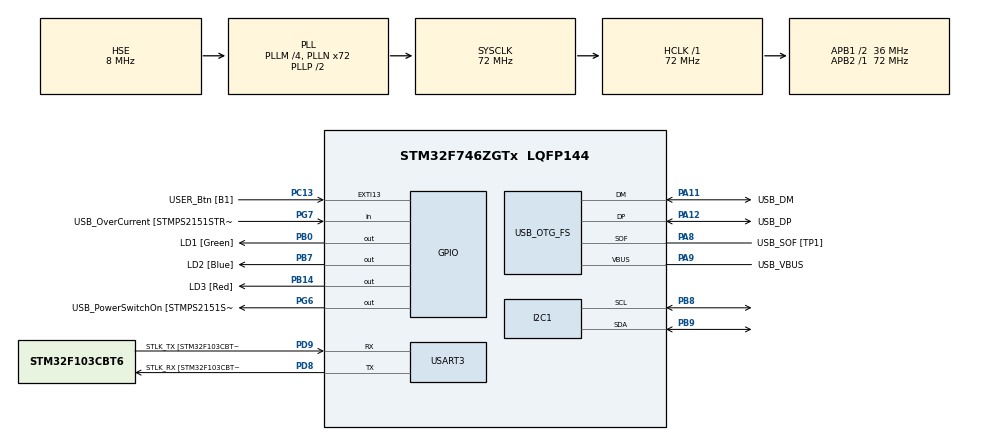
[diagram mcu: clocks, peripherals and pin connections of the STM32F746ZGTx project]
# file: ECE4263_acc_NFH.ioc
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I2C1.Timing=0x00808CD2
Mcu.Family=STM32F7
Mcu.Name=STM32F746ZGTx
Mcu.Package=LQFP144
NVIC.PriorityGroup=NVIC_PRIORITYGROUP_4
PA1.GPIO_Label=RMII_REF_CLK [LAN8742A-CZ-TR_REFCLK0]
PA1.Signal=ETH_REF_CLK
PA10.GPIO_Label=USB_ID
PA10.Signal=USB_OTG_FS_ID
PA11.GPIO_Label=USB_DM
PA11.Mode=Device_Only
PA11.Signal=USB_OTG_FS_DM
PA12.GPIO_Label=USB_DP
PA12.Mode=Device_Only
PA12.Signal=USB_OTG_FS_DP
PA13.GPIO_Label=TMS
PA13.Mode=Serial_Wire
PA13.Signal=SYS_JTMS-SWDIO
PA14.GPIO_Label=TCK
PA14.Mode=Serial_Wire
PA14.Signal=SYS_JTCK-SWCLK
PA2.GPIO_Label=RMII_MDIO [LAN8742A-CZ-TR_MDIO]
PA2.Signal=ETH_MDIO
PA7.GPIO_Label=RMII_CRS_DV [LAN8742A-CZ-TR_CRS_DV]
PA7.Signal=ETH_CRS_DV
PA8.GPIO_Label=USB_SOF [TP1]
PA8.Mode=Activate_SOF_FS
PA8.Signal=USB_OTG_FS_SOF
PA9.GPIO_Label=USB_VBUS
PA9.Mode=Activate_VBUS
PA9.Signal=USB_OTG_FS_VBUS
PB0.GPIO_Label=LD1 [Green]
PB0.Signal=GPIO_Output
PB13.GPIO_Label=RMII_TXD1 [LAN8742A-CZ-TR_TXD1]
PB13.Signal=ETH_TXD1
PB14.GPIO_Label=LD3 [Red]
PB14.Signal=GPIO_Output
PB3.GPIO_Label=SW0
PB3.Signal=SYS_JTDO-SWO
PB7.GPIO_Label=LD2 [Blue]
PB7.Signal=GPIO_Output
PB8.Mode=I2C
PB8.Signal=I2C1_SCL
PB9.Mode=I2C
PB9.Signal=I2C1_SDA
PC1.GPIO_Label=RMII_MDC [LAN8742A-CZ-TR_MDC]
PC1.Signal=ETH_MDC
PC13.GPIO_Label=USER_Btn [B1]
PC13.Signal=GPXTI13
PC14/OSC32_IN.Mode=LSE-External-Oscillator
PC14/OSC32_IN.Signal=RCC_OSC32_IN
PC15/OSC32_OUT.Mode=LSE-External-Oscillator
PC15/OSC32_OUT.Signal=RCC_OSC32_OUT
PC4.GPIO_Label=RMII_RXD0 [LAN8742A-CZ-TR_RXD0]
PC4.Signal=ETH_RXD0
PC5.GPIO_Label=RMII_RXD1 [LAN8742A-CZ-TR_RXD1]
PC5.Signal=ETH_RXD1
PD8.GPIO_Label=STLK_RX [STM32F103CBT6_PA3]
PD8.Mode=Asynchronous
PD8.Signal=USART3_TX
PD9.GPIO_Label=STLK_TX [STM32F103CBT6_PA2]
PD9.Mode=Asynchronous
PD9.Signal=USART3_RX
PG11.GPIO_Label=RMII_TX_EN [LAN8742A-CZ-TR_TXEN]
PG11.Signal=ETH_TX_EN
PG13.GPIO_Label=RMII_TXD0 [LAN8742A-CZ-TR_TXD0]
PG13.Signal=ETH_TXD0
PG6.GPIO_Label=USB_PowerSwitchOn [STMPS2151STR_EN]
PG6.Signal=GPIO_Output
PG7.GPIO_Label=USB_OverCurrent [STMPS2151STR_FAULT]
PG7.Signal=GPIO_Input
PH0/OSC_IN.GPIO_Label=MCO [STM32F103CBT6_PA8]
PH0/OSC_IN.Mode=HSE-External-Clock-Source
PH0/OSC_IN.Signal=RCC_OSC_IN
PH1/OSC_OUT.Mode=HSE-External-Clock-Source
PH1/OSC_OUT.Signal=RCC_OSC_OUT
ProjectManager.HeapSize=0x200
ProjectManager.StackSize=0x400
ProjectManager.TargetToolchain=STM32CubeIDE
RCC.48MHZClocksFreq_Value=24000000
RCC.AHBFreq_Value=72000000
RCC.APB1CLKDivider=RCC_HCLK_DIV2
RCC.APB1Freq_Value=36000000
RCC.APB1TimFreq_Value=72000000
RCC.APB2Freq_Value=72000000
RCC.APB2TimFreq_Value=72000000
RCC.CortexFreq_Value=72000000
RCC.HCLKFreq_Value=72000000
RCC.HSE_VALUE=8000000
RCC.HSI_VALUE=16000000
RCC.PLLM=4
RCC.PLLMUL=RCC_PLL_MUL9
RCC.PLLN=72
RCC.PLLQ=3
RCC.PRESCALERUSB=RCC_USBCLKSOURCE_PLL_DIV1_5
RCC.SYSCLKFreq_VALUE=72000000
RCC.SYSCLKSource=RCC_SYSCLKSOURCE_PLLCLK
RCC.SYSCLKSourceVirtual=RCC_SYSCLKSOURCE_PLLCLK
RCC.USBFreq_Value=48000000
RCC.VCOOutputFreq_Value=144000000
USART3.VirtualMode-Asynchronous=VM_ASYNC
USB_OTG_FS.VirtualMode=Device_Only
board=NUCLEO-F746ZG

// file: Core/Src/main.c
/* USER CODE BEGIN Header */
/**
  ******************************************************************************
  * @file           : main.c
  * @brief          : Main program body
  ******************************************************************************
  * @attention
  *
  * <h2><center>&copy; Copyright (c) 2021 STMicroelectronics.
  * All rights reserved.</center></h2>
  *
  * This software component is licensed by ST under BSD 3-Clause license,
  * the "License"; You may not use this file except in compliance with the
  * License. You may obtain a copy of the License at:
  *                        opensource.org/licenses/BSD-3-Clause
  *
  ******************************************************************************
  */
/* USER CODE END Header */
#include "main.h"

/* USER CODE BEGIN Includes */
#include "stdio.h"
#include "stdint.h"
#include "string.h"
/* USER CODE END Includes */

I2C_HandleTypeDef hi2c1;

UART_HandleTypeDef huart3;

PCD_HandleTypeDef hpcd_USB_OTG_FS;

/* USER CODE BEGIN PV */
#define MPU6050_ADDR 0xD0
#define SMPLRT_DIV_REG 0x19
#define GYRO_CONFIG_REG 0x1B
#define ACCEL_CONFIG_REG 0x1C
#define ACCEL_XOUT_H_REG 0x3B
#define TEMP_OUT_H_REG 0x41
#define GYRO_XOUT_H_REG 0x43
#define PWR_MGMT_1_REG 0x6B
#define WHO_AM_I_REG 0x75

int16_t Accel_X_RAW = 0 ;
int16_t Accel_Y_RAW = 0 ;
int16_t Accel_Z_RAW = 0 ;

int16_t Gyro_X_RAW = 0 ;
int16_t Gyro_Y_RAW = 0 ;
int16_t Gyro_Z_RAW = 0 ;

/* USER CODE END PV */

void SystemClock_Config(void);
static void MX_GPIO_Init(void);
static void MX_USART3_UART_Init(void);
static void MX_USB_OTG_FS_PCD_Init(void);
static void MX_I2C1_Init(void);
/* USER CODE BEGIN PFP */
//void MPU6050_Init(void); //Initialize the MPU
//void MPU6050_Read_Accel(void); //Read the Accel values
//void MPU6050_Read_Gyro(void); //Read the Gyro values
/* USER CODE END PFP */

int main(void)
{

  /* MCU Configuration--------------------------------------------------------*/

  /* Reset of all peripherals, Initializes the Flash interface and the Systick. */
  HAL_Init();

  /* Configure the system clock */
  SystemClock_Config();

  /* Initialize all configured peripherals */
  MX_GPIO_Init();
  MX_USART3_UART_Init();
  MX_USB_OTG_FS_PCD_Init();
  MX_I2C1_Init();
  /* USER CODE BEGIN 2 */

  uint8_t check;

  HAL_I2C_Mem_Read (&hi2c1, MPU6050_ADDR,WHO_AM_I_REG,1, &check, 1, HAL_MAX_DELAY);

  uint8_t data;

  if(check == 104){
	data = 0x00;
	HAL_I2C_Mem_Write(&hi2c1, MPU6050_ADDR, PWR_MGMT_1_REG, 1, &data, 1, HAL_MAX_DELAY);
	data = 0x07;
	HAL_I2C_Mem_Write(&hi2c1, MPU6050_ADDR, SMPLRT_DIV_REG, 1, &data, 1, HAL_MAX_DELAY);
	data = 0x00;
	HAL_I2C_Mem_Write(&hi2c1, MPU6050_ADDR, ACCEL_CONFIG_REG, 1, &data, 1, HAL_MAX_DELAY);
	data = 0x00;
	HAL_I2C_Mem_Write(&hi2c1, MPU6050_ADDR, GYRO_CONFIG_REG, 1, &data, 1, HAL_MAX_DELAY);
  }

  uint8_t dataRX[6];
  char buffer[128];

  /* USER CODE END 2 */

  /* Infinite loop */
  /* USER CODE BEGIN WHILE */
  while (1)
  {

//	HAL_I2C_Mem_Read (&hi2c1, MPU6050_ADDR, ACCEL_XOUT_H_REG, 1, dataRX, 6, HAL_MAX_DELAY);
//	Accel_X_RAW = (int16_t)(dataRX[0] << 8 | dataRX [1]);
//	double Ax = Accel_X_RAW/16384.0;
//
//	//HAL_I2C_Mem_Read (&hi2c1, MPU6050_ADDR, ACCEL_XOUT_H_REG, 1, dataRX, 6, HAL_MAX_DELAY);
//	Accel_Y_RAW = (int16_t)(dataRX[2] << 8 | dataRX [3]);
//	double Ay = Accel_Y_RAW/16384.0;
//
//	//HAL_I2C_Mem_Read (&hi2c1, MPU6050_ADDR, ACCEL_XOUT_H_REG, 1, dataRX, 6, HAL_MAX_DELAY);
//	Accel_Z_RAW = (int16_t)(dataRX[4] << 8 | dataRX [5]);
//	double Az = Accel_Z_RAW/16384.0;

	  HAL_I2C_Mem_Read (&hi2c1, MPU6050_ADDR, GYRO_XOUT_H_REG, 1, dataRX, 6, 1000);
	  Gyro_X_RAW = (int16_t)(dataRX[0] << 8 | dataRX [1]);
	  double Gx = (Gyro_X_RAW/131.0);

	  Gyro_Z_RAW = (int16_t)(dataRX[2] << 8 | dataRX [3]);
	  double Gz = Gyro_Z_RAW/131.0;

	  Gyro_Y_RAW = (int16_t)(dataRX[4] << 8 | dataRX [5]);
	  double Gy = Gyro_Y_RAW/131.0;

	  sprintf(buffer, "%lf, %lf \r\n", Gyro_X_RAW/131.0, Gx);

	  HAL_UART_Transmit(&huart3, (uint8_t *)buffer, strlen(buffer), HAL_MAX_DELAY);

	  HAL_Delay(500);
    /* USER CODE END WHILE */

  }
}

void SystemClock_Config(void)
{
  RCC_OscInitTypeDef RCC_OscInitStruct = {0};
  RCC_ClkInitTypeDef RCC_ClkInitStruct = {0};
  RCC_PeriphCLKInitTypeDef PeriphClkInitStruct = {0};

  /** Configure LSE Drive Capability
  */
  HAL_PWR_EnableBkUpAccess();
  /** Configure the main internal regulator output voltage
  */
  __HAL_RCC_PWR_CLK_ENABLE();
  __HAL_PWR_VOLTAGESCALING_CONFIG(PWR_REGULATOR_VOLTAGE_SCALE3);
  /** Initializes the RCC Oscillators according to the specified parameters
  * in the RCC_OscInitTypeDef structure.
  */
  RCC_OscInitStruct.OscillatorType = RCC_OSCILLATORTYPE_HSE;
  RCC_OscInitStruct.HSEState = RCC_HSE_BYPASS;
  RCC_OscInitStruct.PLL.PLLState = RCC_PLL_ON;
  RCC_OscInitStruct.PLL.PLLSource = RCC_PLLSOURCE_HSE;
  RCC_OscInitStruct.PLL.PLLM = 4;
  RCC_OscInitStruct.PLL.PLLN = 72;
  RCC_OscInitStruct.PLL.PLLP = RCC_PLLP_DIV2;
  RCC_OscInitStruct.PLL.PLLQ = 3;
  if (HAL_RCC_OscConfig(&RCC_OscInitStruct) != HAL_OK)
  {
    Error_Handler();
  }
  /** Initializes the CPU, AHB and APB buses clocks
  */
  RCC_ClkInitStruct.ClockType = RCC_CLOCKTYPE_HCLK|RCC_CLOCKTYPE_SYSCLK
                              |RCC_CLOCKTYPE_PCLK1|RCC_CLOCKTYPE_PCLK2;
  RCC_ClkInitStruct.SYSCLKSource = RCC_SYSCLKSOURCE_PLLCLK;
  RCC_ClkInitStruct.AHBCLKDivider = RCC_SYSCLK_DIV1;
  RCC_ClkInitStruct.APB1CLKDivider = RCC_HCLK_DIV2;
  RCC_ClkInitStruct.APB2CLKDivider = RCC_HCLK_DIV1;

  if (HAL_RCC_ClockConfig(&RCC_ClkInitStruct, FLASH_LATENCY_2) != HAL_OK)
  {
    Error_Handler();
  }
  PeriphClkInitStruct.PeriphClockSelection = RCC_PERIPHCLK_USART3|RCC_PERIPHCLK_I2C1
                              |RCC_PERIPHCLK_CLK48;
  PeriphClkInitStruct.Usart3ClockSelection = RCC_USART3CLKSOURCE_PCLK1;
  PeriphClkInitStruct.I2c1ClockSelection = RCC_I2C1CLKSOURCE_PCLK1;
  PeriphClkInitStruct.Clk48ClockSelection = RCC_CLK48SOURCE_PLL;
  if (HAL_RCCEx_PeriphCLKConfig(&PeriphClkInitStruct) != HAL_OK)
  {
    Error_Handler();
  }
}

static void MX_I2C1_Init(void)
{

  hi2c1.Instance = I2C1;
  hi2c1.Init.Timing = 0x00808CD2;
  hi2c1.Init.OwnAddress1 = 0;
  hi2c1.Init.AddressingMode = I2C_ADDRESSINGMODE_7BIT;
  hi2c1.Init.DualAddressMode = I2C_DUALADDRESS_DISABLE;
  hi2c1.Init.OwnAddress2 = 0;
  hi2c1.Init.OwnAddress2Masks = I2C_OA2_NOMASK;
  hi2c1.Init.GeneralCallMode = I2C_GENERALCALL_DISABLE;
  hi2c1.Init.NoStretchMode = I2C_NOSTRETCH_DISABLE;
  if (HAL_I2C_Init(&hi2c1) != HAL_OK)
  {
    Error_Handler();
  }
  /** Configure Analogue filter
  */
  if (HAL_I2CEx_ConfigAnalogFilter(&hi2c1, I2C_ANALOGFILTER_ENABLE) != HAL_OK)
  {
    Error_Handler();
  }
  /** Configure Digital filter
  */
  if (HAL_I2CEx_ConfigDigitalFilter(&hi2c1, 0) != HAL_OK)
  {
    Error_Handler();
  }

}

static void MX_USART3_UART_Init(void)
{

  huart3.Instance = USART3;
  huart3.Init.BaudRate = 115200;
  huart3.Init.WordLength = UART_WORDLENGTH_8B;
  huart3.Init.StopBits = UART_STOPBITS_1;
  huart3.Init.Parity = UART_PARITY_NONE;
  huart3.Init.Mode = UART_MODE_TX_RX;
  huart3.Init.HwFlowCtl = UART_HWCONTROL_NONE;
  huart3.Init.OverSampling = UART_OVERSAMPLING_16;
  huart3.Init.OneBitSampling = UART_ONE_BIT_SAMPLE_DISABLE;
  huart3.AdvancedInit.AdvFeatureInit = UART_ADVFEATURE_NO_INIT;
  if (HAL_UART_Init(&huart3) != HAL_OK)
  {
    Error_Handler();
  }

}

static void MX_USB_OTG_FS_PCD_Init(void)
{

  hpcd_USB_OTG_FS.Instance = USB_OTG_FS;
  hpcd_USB_OTG_FS.Init.dev_endpoints = 6;
  hpcd_USB_OTG_FS.Init.speed = PCD_SPEED_FULL;
  hpcd_USB_OTG_FS.Init.dma_enable = DISABLE;
  hpcd_USB_OTG_FS.Init.phy_itface = PCD_PHY_EMBEDDED;
  hpcd_USB_OTG_FS.Init.Sof_enable = ENABLE;
  hpcd_USB_OTG_FS.Init.low_power_enable = DISABLE;
  hpcd_USB_OTG_FS.Init.lpm_enable = DISABLE;
  hpcd_USB_OTG_FS.Init.vbus_sensing_enable = ENABLE;
  hpcd_USB_OTG_FS.Init.use_dedicated_ep1 = DISABLE;
  if (HAL_PCD_Init(&hpcd_USB_OTG_FS) != HAL_OK)
  {
    Error_Handler();
  }

}

static void MX_GPIO_Init(void)
{
  GPIO_InitTypeDef GPIO_InitStruct = {0};

  /* GPIO Ports Clock Enable */
  __HAL_RCC_GPIOC_CLK_ENABLE();
  __HAL_RCC_GPIOH_CLK_ENABLE();
  __HAL_RCC_GPIOA_CLK_ENABLE();
  __HAL_RCC_GPIOB_CLK_ENABLE();
  __HAL_RCC_GPIOD_CLK_ENABLE();
  __HAL_RCC_GPIOG_CLK_ENABLE();

  /*Configure GPIO pin Output Level */
  HAL_GPIO_WritePin(GPIOB, LD1_Pin|LD3_Pin|LD2_Pin, GPIO_PIN_RESET);

  /*Configure GPIO pin Output Level */
  HAL_GPIO_WritePin(USB_PowerSwitchOn_GPIO_Port, USB_PowerSwitchOn_Pin, GPIO_PIN_RESET);

  /*Configure GPIO pin : USER_Btn_Pin */
  GPIO_InitStruct.Pin = USER_Btn_Pin;
  GPIO_InitStruct.Mode = GPIO_MODE_IT_RISING;
  GPIO_InitStruct.Pull = GPIO_NOPULL;
  HAL_GPIO_Init(USER_Btn_GPIO_Port, &GPIO_InitStruct);

  /*Configure GPIO pins : RMII_MDC_Pin RMII_RXD0_Pin RMII_RXD1_Pin */
  GPIO_InitStruct.Pin = RMII_MDC_Pin|RMII_RXD0_Pin|RMII_RXD1_Pin;
  GPIO_InitStruct.Mode = GPIO_MODE_AF_PP;
  GPIO_InitStruct.Pull = GPIO_NOPULL;
  GPIO_InitStruct.Speed = GPIO_SPEED_FREQ_VERY_HIGH;
  GPIO_InitStruct.Alternate = GPIO_AF11_ETH;
  HAL_GPIO_Init(GPIOC, &GPIO_InitStruct);

  /*Configure GPIO pins : RMII_REF_CLK_Pin RMII_MDIO_Pin RMII_CRS_DV_Pin */
  GPIO_InitStruct.Pin = RMII_REF_CLK_Pin|RMII_MDIO_Pin|RMII_CRS_DV_Pin;
  GPIO_InitStruct.Mode = GPIO_MODE_AF_PP;
  GPIO_InitStruct.Pull = GPIO_NOPULL;
  GPIO_InitStruct.Speed = GPIO_SPEED_FREQ_VERY_HIGH;
  GPIO_InitStruct.Alternate = GPIO_AF11_ETH;
  HAL_GPIO_Init(GPIOA, &GPIO_InitStruct);

  /*Configure GPIO pins : LD1_Pin LD3_Pin LD2_Pin */
  GPIO_InitStruct.Pin = LD1_Pin|LD3_Pin|LD2_Pin;
  GPIO_InitStruct.Mode = GPIO_MODE_OUTPUT_PP;
  GPIO_InitStruct.Pull = GPIO_NOPULL;
  GPIO_InitStruct.Speed = GPIO_SPEED_FREQ_LOW;
  HAL_GPIO_Init(GPIOB, &GPIO_InitStruct);

  /*Configure GPIO pin : RMII_TXD1_Pin */
  GPIO_InitStruct.Pin = RMII_TXD1_Pin;
  GPIO_InitStruct.Mode = GPIO_MODE_AF_PP;
  GPIO_InitStruct.Pull = GPIO_NOPULL;
  GPIO_InitStruct.Speed = GPIO_SPEED_FREQ_VERY_HIGH;
  GPIO_InitStruct.Alternate = GPIO_AF11_ETH;
  HAL_GPIO_Init(RMII_TXD1_GPIO_Port, &GPIO_InitStruct);

  /*Configure GPIO pin : USB_PowerSwitchOn_Pin */
  GPIO_InitStruct.Pin = USB_PowerSwitchOn_Pin;
  GPIO_InitStruct.Mode = GPIO_MODE_OUTPUT_PP;
  GPIO_InitStruct.Pull = GPIO_NOPULL;
  GPIO_InitStruct.Speed = GPIO_SPEED_FREQ_LOW;
  HAL_GPIO_Init(USB_PowerSwitchOn_GPIO_Port, &GPIO_InitStruct);

  /*Configure GPIO pin : USB_OverCurrent_Pin */
  GPIO_InitStruct.Pin = USB_OverCurrent_Pin;
  GPIO_InitStruct.Mode = GPIO_MODE_INPUT;
  GPIO_InitStruct.Pull = GPIO_NOPULL;
  HAL_GPIO_Init(USB_OverCurrent_GPIO_Port, &GPIO_InitStruct);

  /*Configure GPIO pins : RMII_TX_EN_Pin RMII_TXD0_Pin */
  GPIO_InitStruct.Pin = RMII_TX_EN_Pin|RMII_TXD0_Pin;
  GPIO_InitStruct.Mode = GPIO_MODE_AF_PP;
  GPIO_InitStruct.Pull = GPIO_NOPULL;
  GPIO_InitStruct.Speed = GPIO_SPEED_FREQ_VERY_HIGH;
  GPIO_InitStruct.Alternate = GPIO_AF11_ETH;
  HAL_GPIO_Init(GPIOG, &GPIO_InitStruct);

}

void Error_Handler(void)
{
  __disable_irq();
  while (1)
  {
  }
}

/************************ (C) COPYRIGHT STMicroelectronics *****END OF FILE****/
